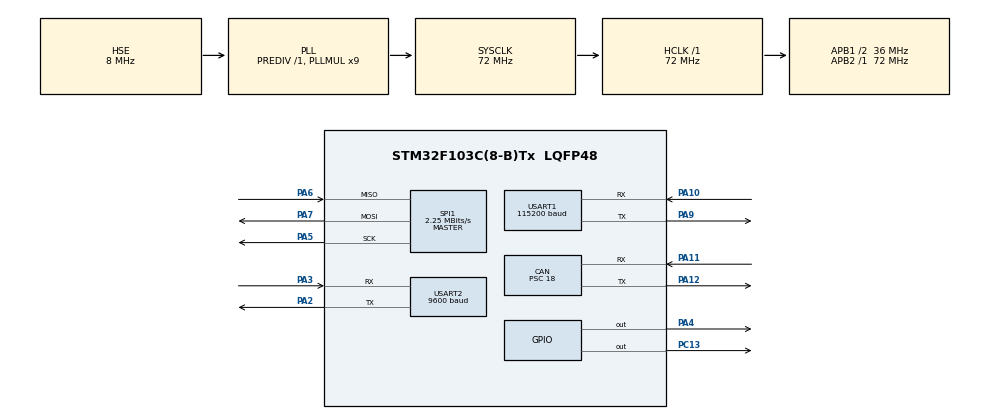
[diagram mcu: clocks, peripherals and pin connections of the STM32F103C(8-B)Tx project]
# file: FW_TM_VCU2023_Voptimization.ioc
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CAN.BS1=CAN_BS1_4TQ
CAN.BS2=CAN_BS2_3TQ
CAN.CalculateBaudRate=250000
CAN.CalculateTimeBit=4000
CAN.CalculateTimeQuantum=500.0
CAN.Prescaler=18
FATFS._MAX_SS=4096
FATFS._USE_LFN=1
Mcu.Family=STM32F1
Mcu.Name=STM32F103C(8-B)Tx
Mcu.Package=LQFP48
NVIC.PriorityGroup=NVIC_PRIORITYGROUP_4
NVIC.TIM2_IRQn=true\:0\:0\:true\:false\:true\:true\:true\:true
NVIC.TIM3_IRQn=true\:1\:0\:true\:false\:true\:true\:true\:true
NVIC.USART1_IRQn=true\:0\:0\:true\:false\:true\:true\:true\:true
NVIC.USB_LP_CAN1_RX0_IRQn=true\:0\:0\:false\:false\:true\:true\:true\:true
PA10.Mode=Asynchronous
PA10.Signal=USART1_RX
PA11.Mode=CAN_Activate
PA11.Signal=CAN_RX
PA12.Mode=CAN_Activate
PA12.Signal=CAN_TX
PA13.Mode=Serial_Wire
PA13.Signal=SYS_JTMS-SWDIO
PA14.Mode=Serial_Wire
PA14.Signal=SYS_JTCK-SWCLK
PA2.Mode=Asynchronous
PA2.Signal=USART2_TX
PA3.Mode=Asynchronous
PA3.Signal=USART2_RX
PA4.Signal=GPIO_Output
PA5.Mode=Full_Duplex_Master
PA5.Signal=SPI1_SCK
PA6.Mode=Full_Duplex_Master
PA6.Signal=SPI1_MISO
PA7.Mode=Full_Duplex_Master
PA7.Signal=SPI1_MOSI
PA9.Mode=Asynchronous
PA9.Signal=USART1_TX
PC13-TAMPER-RTC.Signal=GPIO_Output
PD0-OSC_IN.Mode=HSE-External-Oscillator
PD0-OSC_IN.Signal=RCC_OSC_IN
PD1-OSC_OUT.Mode=HSE-External-Oscillator
PD1-OSC_OUT.Signal=RCC_OSC_OUT
ProjectManager.HeapSize=0x200
ProjectManager.StackSize=0x400
ProjectManager.TargetToolchain=STM32CubeIDE
RCC.AHBFreq_Value=72000000
RCC.APB1CLKDivider=RCC_HCLK_DIV2
RCC.APB1Freq_Value=36000000
RCC.APB1TimFreq_Value=72000000
RCC.APB2Freq_Value=72000000
RCC.APB2TimFreq_Value=72000000
RCC.HCLKFreq_Value=72000000
RCC.PLLMUL=RCC_PLL_MUL9
RCC.PLLSourceVirtual=RCC_PLLSOURCE_HSE
RCC.SYSCLKFreq_VALUE=72000000
RCC.SYSCLKSource=RCC_SYSCLKSOURCE_PLLCLK
RCC.USBFreq_Value=72000000
SPI1.BaudRatePrescaler=SPI_BAUDRATEPRESCALER_32
SPI1.CalculateBaudRate=2.25 MBits/s
SPI1.Direction=SPI_DIRECTION_2LINES
SPI1.Mode=SPI_MODE_MASTER
SPI1.VirtualType=VM_MASTER
TIM2.AutoReloadPreload=TIM_AUTORELOAD_PRELOAD_ENABLE
TIM2.Period=63999
TIM2.Prescaler=2000
TIM3.AutoReloadPreload=TIM_AUTORELOAD_PRELOAD_ENABLE
TIM3.Period=59999
TIM3.Prescaler=119
USART1.BaudRate=115200
USART1.VirtualMode=VM_ASYNC
USART2.BaudRate=9600
USART2.VirtualMode=VM_ASYNC
VP_FATFS_VS_Generic.Mode=User_defined
VP_TIM2_VS_ClockSourceINT.Mode=Internal
VP_TIM3_VS_ClockSourceINT.Mode=Internal
board=custom

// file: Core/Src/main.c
/* USER CODE BEGIN Header */
/**
 ******************************************************************************
 * @file           : main.c
 * @brief          : Main program body
 ******************************************************************************
 * @attention
 *
 * Copyright (c) 2023 STMicroelectronics.
 * All rights reserved.
 *
 * This software is licensed under terms that can be found in the LICENSE file
 * in the root directory of this software component.
 * If no LICENSE file comes with this software, it is provided AS-IS.
 *
 ******************************************************************************
 */
/* USER CODE END Header */
#include "main.h"
#include "fatfs.h"

/* USER CODE BEGIN Includes */
#include "Canbus.h"
#include "Nextion.h"
#include "Telemetry_LORA.h"
#include "fatfs_sd.h"
#include "FLASH_PAGE_F1.h"
#include "stdbool.h"

/* USER CODE END Includes */

/* USER CODE BEGIN PD */
#define BUFFER_SIZE 30
/* USER CODE END PD */

CAN_HandleTypeDef hcan;

SPI_HandleTypeDef hspi1;

TIM_HandleTypeDef htim2;
TIM_HandleTypeDef htim3;

UART_HandleTypeDef huart1;
UART_HandleTypeDef huart2;

/* USER CODE BEGIN PV */

bool WriteSD = false;

extern CAN_TxHeaderTypeDef TxHeader; //CAN Bus Transmit Header
extern CAN_RxHeaderTypeDef RxHeader; //CAN Bus Receive Header
extern CAN_FilterTypeDef Canfil; //CAN Bus Filter
extern char LORA_Buf[200];
extern uint8_t CAN_ID;
extern uint8_t CanRX[8];  //CAN Bus Receive Buffer
extern uint32_t CanMailbox; //CAN Bus Mail box variable
extern uint8_t LORA_Instant_Buffer[35];// GELEN VERİLER BU DİZİYE KAYIT EDİLİLYOR
extern char LORA_BMS_Buffer[200] ;// BMS BUFFER
extern char LORA_BCM_Buffer[25] ;// BCM BUFER
extern char LORA_SPEED_Buffer[10] ;// HIZ BUFFER
extern char LORA_CURRENT_Buffer[10]; //AKIM BUFFERI
extern char LORA_Sending_Buffer[200];

/****************SD KART DE�?İ�?KENLERİ************/
FATFS fs;  // file system
FIL fil; // File
FILINFO fno;
FRESULT fresult;  // result
UINT br, bw;  // File read/write count
char buffer_file[30]={'\0'};
char buffer[BUFFER_SIZE];
uint32_t SD_count;
uint32_t sd_card[5]={0};
uint8_t Hata_sayac[4];
/**** capacity related *****/
FATFS *pfs;
DWORD fre_clust;
uint32_t total, free_space;
/* USER CODE END PV */

void SystemClock_Config(void);
static void MX_GPIO_Init(void);
static void MX_CAN_Init(void);
static void MX_USART2_UART_Init(void);
static void MX_USART1_UART_Init(void);
static void MX_SPI1_Init(void);
static void MX_TIM2_Init(void);
static void MX_TIM3_Init(void);
/* USER CODE BEGIN PFP */
void clear_buffer (void)
{
	for (int i=0; i<BUFFER_SIZE; i++) buffer[i] = '\0';
}
/*
 * ***************************************************************
 * *****************	UART VE CANBUS KESMELERİ	**************
 *****************************************************************
 * */

void HAL_UART_RxCpltCallback(UART_HandleTypeDef *huart) {

	HAL_UART_Receive_IT(&huart1, CanRX, 1);

}

void HAL_TIM_PeriodElapsedCallback(TIM_HandleTypeDef *htim) {

	/******************************SD KART DEGISKENLERI****************************/
	if (htim->Instance == TIM2) {
  		LORA_Send_Together_DATAS();
	}
	if (htim->Instance == TIM3) {
		WriteSD = true;
	}
}
/*--------------------------------------------------------------------------------*/
/*--------------------------------------------------------------------------------*/
/* USER CODE END PFP */

int main(void)
{

  /* MCU Configuration--------------------------------------------------------*/

  /* Reset of all peripherals, Initializes the Flash interface and the Systick. */
  HAL_Init();

  /* Configure the system clock */
  SystemClock_Config();

  /* Initialize all configured peripherals */
  MX_GPIO_Init();
  MX_CAN_Init();
  MX_USART2_UART_Init();
  MX_USART1_UART_Init();
  MX_FATFS_Init();
  MX_SPI1_Init();
  MX_TIM2_Init();
  MX_TIM3_Init();
  /* USER CODE BEGIN 2 */
#if defined(CANBUS)
	CANBUS_Init();
#endif
	HAL_TIM_Base_Start_IT(&htim2);
	HAL_TIM_Base_Start_IT(&htim3);
	HAL_UART_Receive_IT(&huart1, CanRX, 1);
	Flash_Read_Data(0x0801fc00U, &SD_count, 2);
	SD_count++;
	Flash_Write_Data(0x0801fc00U, &SD_count, 2);
	sd_card[0]=0;
  /* USER CODE END 2 */

  /* Infinite loop */
  /* USER CODE BEGIN WHILE */

	while (1) {
		if(WriteSD == true)
		{
			sd_card[0] = sd_card[0] + 100;
			fresult = f_mount(&fs, "", 1);
			if (fresult == FR_OK) {

				sprintf(buffer_file, "File%lu.txt" "", SD_count);
				fresult = f_open(&fil, buffer_file, FA_WRITE);
				if (fresult != FR_OK) {
					f_open(&fil, buffer_file, FA_OPEN_ALWAYS | FA_READ | FA_WRITE);
					sprintf(buffer, "*****TURKMEKATRONIK 2023**** ");
					f_puts(buffer, &fil);
					clear_buffer();
				}
				f_lseek(&fil, fil.fsize);
				sprintf(buffer, "\n%lu;%lu;%lu;%lu;%lu", sd_card[0], sd_card[1],sd_card[2], sd_card[3], sd_card[4]);
				f_puts(buffer, &fil);
				clear_buffer();
				fresult = f_close(&fil);
			}
			WriteSD = false;
		}

    /* USER CODE END WHILE */

	}
}

void SystemClock_Config(void)
{
  RCC_OscInitTypeDef RCC_OscInitStruct = {0};
  RCC_ClkInitTypeDef RCC_ClkInitStruct = {0};

  /** Initializes the RCC Oscillators according to the specified parameters
  * in the RCC_OscInitTypeDef structure.
  */
  RCC_OscInitStruct.OscillatorType = RCC_OSCILLATORTYPE_HSE;
  RCC_OscInitStruct.HSEState = RCC_HSE_ON;
  RCC_OscInitStruct.HSEPredivValue = RCC_HSE_PREDIV_DIV1;
  RCC_OscInitStruct.HSIState = RCC_HSI_ON;
  RCC_OscInitStruct.PLL.PLLState = RCC_PLL_ON;
  RCC_OscInitStruct.PLL.PLLSource = RCC_PLLSOURCE_HSE;
  RCC_OscInitStruct.PLL.PLLMUL = RCC_PLL_MUL9;
  if (HAL_RCC_OscConfig(&RCC_OscInitStruct) != HAL_OK)
  {
    Error_Handler();
  }

  /** Initializes the CPU, AHB and APB buses clocks
  */
  RCC_ClkInitStruct.ClockType = RCC_CLOCKTYPE_HCLK|RCC_CLOCKTYPE_SYSCLK
                              |RCC_CLOCKTYPE_PCLK1|RCC_CLOCKTYPE_PCLK2;
  RCC_ClkInitStruct.SYSCLKSource = RCC_SYSCLKSOURCE_PLLCLK;
  RCC_ClkInitStruct.AHBCLKDivider = RCC_SYSCLK_DIV1;
  RCC_ClkInitStruct.APB1CLKDivider = RCC_HCLK_DIV2;
  RCC_ClkInitStruct.APB2CLKDivider = RCC_HCLK_DIV1;

  if (HAL_RCC_ClockConfig(&RCC_ClkInitStruct, FLASH_LATENCY_2) != HAL_OK)
  {
    Error_Handler();
  }
}

static void MX_CAN_Init(void)
{

  hcan.Instance = CAN1;
  hcan.Init.Prescaler = 18;
  hcan.Init.Mode = CAN_MODE_NORMAL;
  hcan.Init.SyncJumpWidth = CAN_SJW_1TQ;
  hcan.Init.TimeSeg1 = CAN_BS1_4TQ;
  hcan.Init.TimeSeg2 = CAN_BS2_3TQ;
  hcan.Init.TimeTriggeredMode = DISABLE;
  hcan.Init.AutoBusOff = DISABLE;
  hcan.Init.AutoWakeUp = DISABLE;
  hcan.Init.AutoRetransmission = DISABLE;
  hcan.Init.ReceiveFifoLocked = DISABLE;
  hcan.Init.TransmitFifoPriority = DISABLE;
  if (HAL_CAN_Init(&hcan) != HAL_OK)
  {
    Error_Handler();
  }

}

static void MX_SPI1_Init(void)
{

  /* SPI1 parameter configuration*/
  hspi1.Instance = SPI1;
  hspi1.Init.Mode = SPI_MODE_MASTER;
  hspi1.Init.Direction = SPI_DIRECTION_2LINES;
  hspi1.Init.DataSize = SPI_DATASIZE_8BIT;
  hspi1.Init.CLKPolarity = SPI_POLARITY_LOW;
  hspi1.Init.CLKPhase = SPI_PHASE_1EDGE;
  hspi1.Init.NSS = SPI_NSS_SOFT;
  hspi1.Init.BaudRatePrescaler = SPI_BAUDRATEPRESCALER_32;
  hspi1.Init.FirstBit = SPI_FIRSTBIT_MSB;
  hspi1.Init.TIMode = SPI_TIMODE_DISABLE;
  hspi1.Init.CRCCalculation = SPI_CRCCALCULATION_DISABLE;
  hspi1.Init.CRCPolynomial = 10;
  if (HAL_SPI_Init(&hspi1) != HAL_OK)
  {
    Error_Handler();
  }

}

static void MX_TIM2_Init(void)
{

  TIM_ClockConfigTypeDef sClockSourceConfig = {0};
  TIM_MasterConfigTypeDef sMasterConfig = {0};

  htim2.Instance = TIM2;
  htim2.Init.Prescaler = 2000;
  htim2.Init.CounterMode = TIM_COUNTERMODE_UP;
  htim2.Init.Period = 63999;
  htim2.Init.ClockDivision = TIM_CLOCKDIVISION_DIV1;
  htim2.Init.AutoReloadPreload = TIM_AUTORELOAD_PRELOAD_ENABLE;
  if (HAL_TIM_Base_Init(&htim2) != HAL_OK)
  {
    Error_Handler();
  }
  sClockSourceConfig.ClockSource = TIM_CLOCKSOURCE_INTERNAL;
  if (HAL_TIM_ConfigClockSource(&htim2, &sClockSourceConfig) != HAL_OK)
  {
    Error_Handler();
  }
  sMasterConfig.MasterOutputTrigger = TIM_TRGO_RESET;
  sMasterConfig.MasterSlaveMode = TIM_MASTERSLAVEMODE_DISABLE;
  if (HAL_TIMEx_MasterConfigSynchronization(&htim2, &sMasterConfig) != HAL_OK)
  {
    Error_Handler();
  }

}

static void MX_TIM3_Init(void)
{

  TIM_ClockConfigTypeDef sClockSourceConfig = {0};
  TIM_MasterConfigTypeDef sMasterConfig = {0};

  htim3.Instance = TIM3;
  htim3.Init.Prescaler = 119;
  htim3.Init.CounterMode = TIM_COUNTERMODE_UP;
  htim3.Init.Period = 59999;
  htim3.Init.ClockDivision = TIM_CLOCKDIVISION_DIV1;
  htim3.Init.AutoReloadPreload = TIM_AUTORELOAD_PRELOAD_ENABLE;
  if (HAL_TIM_Base_Init(&htim3) != HAL_OK)
  {
    Error_Handler();
  }
  sClockSourceConfig.ClockSource = TIM_CLOCKSOURCE_INTERNAL;
  if (HAL_TIM_ConfigClockSource(&htim3, &sClockSourceConfig) != HAL_OK)
  {
    Error_Handler();
  }
  sMasterConfig.MasterOutputTrigger = TIM_TRGO_RESET;
  sMasterConfig.MasterSlaveMode = TIM_MASTERSLAVEMODE_DISABLE;
  if (HAL_TIMEx_MasterConfigSynchronization(&htim3, &sMasterConfig) != HAL_OK)
  {
    Error_Handler();
  }

}

static void MX_USART1_UART_Init(void)
{

  huart1.Instance = USART1;
  huart1.Init.BaudRate = 115200;
  huart1.Init.WordLength = UART_WORDLENGTH_8B;
  huart1.Init.StopBits = UART_STOPBITS_1;
  huart1.Init.Parity = UART_PARITY_NONE;
  huart1.Init.Mode = UART_MODE_TX_RX;
  huart1.Init.HwFlowCtl = UART_HWCONTROL_NONE;
  huart1.Init.OverSampling = UART_OVERSAMPLING_16;
  if (HAL_UART_Init(&huart1) != HAL_OK)
  {
    Error_Handler();
  }

}

static void MX_USART2_UART_Init(void)
{

  huart2.Instance = USART2;
  huart2.Init.BaudRate = 9600;
  huart2.Init.WordLength = UART_WORDLENGTH_8B;
  huart2.Init.StopBits = UART_STOPBITS_1;
  huart2.Init.Parity = UART_PARITY_NONE;
  huart2.Init.Mode = UART_MODE_TX_RX;
  huart2.Init.HwFlowCtl = UART_HWCONTROL_NONE;
  huart2.Init.OverSampling = UART_OVERSAMPLING_16;
  if (HAL_UART_Init(&huart2) != HAL_OK)
  {
    Error_Handler();
  }

}

static void MX_GPIO_Init(void)
{
  GPIO_InitTypeDef GPIO_InitStruct = {0};

  /* GPIO Ports Clock Enable */
  __HAL_RCC_GPIOC_CLK_ENABLE();
  __HAL_RCC_GPIOD_CLK_ENABLE();
  __HAL_RCC_GPIOA_CLK_ENABLE();
  __HAL_RCC_GPIOB_CLK_ENABLE();

  /*Configure GPIO pin Output Level */
  HAL_GPIO_WritePin(GPIOC, GPIO_PIN_13, GPIO_PIN_RESET);

  /*Configure GPIO pin Output Level */
  HAL_GPIO_WritePin(GPIOA, GPIO_PIN_4, GPIO_PIN_RESET);

  /*Configure GPIO pin : PC13 */
  GPIO_InitStruct.Pin = GPIO_PIN_13;
  GPIO_InitStruct.Mode = GPIO_MODE_OUTPUT_PP;
  GPIO_InitStruct.Pull = GPIO_NOPULL;
  GPIO_InitStruct.Speed = GPIO_SPEED_FREQ_LOW;
  HAL_GPIO_Init(GPIOC, &GPIO_InitStruct);

  /*Configure GPIO pins : PC14 PC15 */
  GPIO_InitStruct.Pin = GPIO_PIN_14|GPIO_PIN_15;
  GPIO_InitStruct.Mode = GPIO_MODE_ANALOG;
  HAL_GPIO_Init(GPIOC, &GPIO_InitStruct);

  /*Configure GPIO pins : PA0 PA1 PA8 PA15 */
  GPIO_InitStruct.Pin = GPIO_PIN_0|GPIO_PIN_1|GPIO_PIN_8|GPIO_PIN_15;
  GPIO_InitStruct.Mode = GPIO_MODE_ANALOG;
  HAL_GPIO_Init(GPIOA, &GPIO_InitStruct);

  /*Configure GPIO pin : PA4 */
  GPIO_InitStruct.Pin = GPIO_PIN_4;
  GPIO_InitStruct.Mode = GPIO_MODE_OUTPUT_PP;
  GPIO_InitStruct.Pull = GPIO_NOPULL;
  GPIO_InitStruct.Speed = GPIO_SPEED_FREQ_LOW;
  HAL_GPIO_Init(GPIOA, &GPIO_InitStruct);

  /*Configure GPIO pins : PB0 PB1 PB2 PB10
                           PB11 PB12 PB13 PB14
                           PB15 PB3 PB4 PB5
                           PB6 PB7 PB8 PB9 */
  GPIO_InitStruct.Pin = GPIO_PIN_0|GPIO_PIN_1|GPIO_PIN_2|GPIO_PIN_10
                          |GPIO_PIN_11|GPIO_PIN_12|GPIO_PIN_13|GPIO_PIN_14
                          |GPIO_PIN_15|GPIO_PIN_3|GPIO_PIN_4|GPIO_PIN_5
                          |GPIO_PIN_6|GPIO_PIN_7|GPIO_PIN_8|GPIO_PIN_9;
  GPIO_InitStruct.Mode = GPIO_MODE_ANALOG;
  HAL_GPIO_Init(GPIOB, &GPIO_InitStruct);

}

void Error_Handler(void)
{
	__disable_irq();
	while (1) {
	}
}
